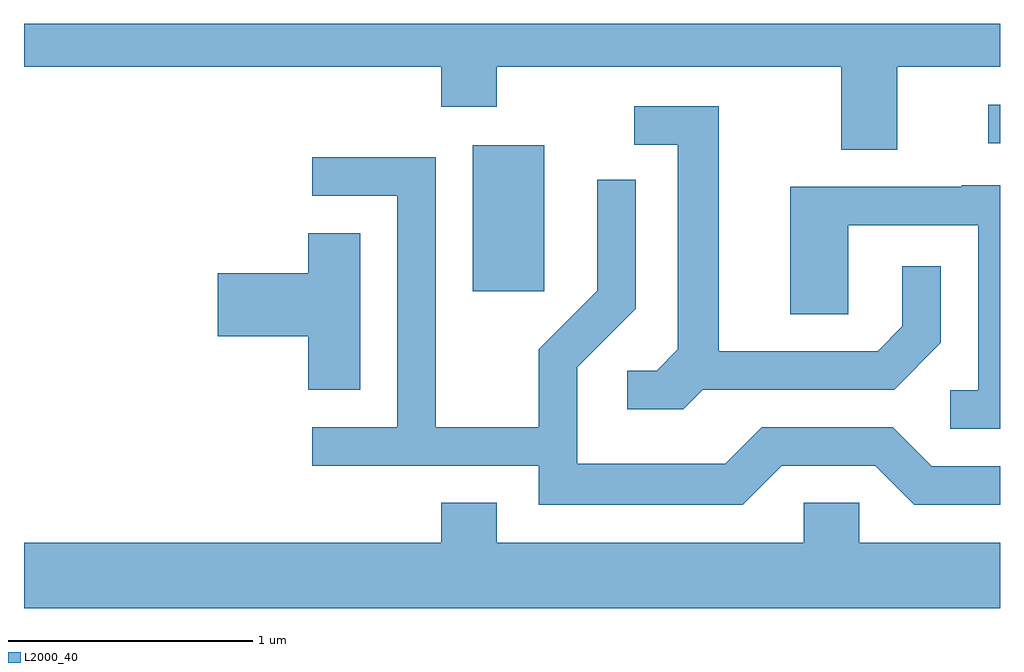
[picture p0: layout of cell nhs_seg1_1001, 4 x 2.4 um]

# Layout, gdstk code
import gdstk
lib = gdstk.Library(unit=1e-6, precision=1e-09)
def R(c, l, rs):  # rectangles x0, y0, x1, y1
    for r in rs: c.add(gdstk.rectangle(r[:2], r[2:], *l))
def P(c, l, *ps):  # polygons
    for p in ps: c.add(gdstk.Polygon(p, *l))
L2000_40 = (2000, 40)

nhs_seg1_1001 = lib.new_cell('nhs_seg1_1001')
R(nhs_seg1_1001, L2000_40, [(217.451,938.616,217.744,939.214), (219.563,939.221,219.611,939.379)])
P(nhs_seg1_1001, L2000_40, [(219.189,939.536),(219.611,939.536),(219.611,939.712),(215.611,939.712),(215.611,939.536),(217.321,939.536),(217.321,939.371),(217.549,939.371),(217.549,939.536),(218.961,939.536),(218.961,939.196),(219.189,939.196)],
  [(218.392,938.211),(219.177,938.211),(219.369,938.404),(219.369,938.718),(219.211,938.718),(219.211,938.472),(219.109,938.369),(218.459,938.369),(218.459,939.374),(218.113,939.374),(218.113,939.216),(218.291,939.216),(218.291,938.377),(218.204,938.289),(218.083,938.289),(218.083,938.131),(218.312,938.131)],
  [(218.717,937.901),(219.099,937.901),(219.259,937.741),(219.611,937.741),(219.611,937.899),(219.332,937.899),(219.172,938.059),(218.634,938.059),(218.484,937.909),(217.879,937.909),(217.879,938.304),(218.119,938.544),(218.119,939.073),(217.961,939.073),(217.961,938.617),(217.721,938.377),(217.721,938.059),(217.299,938.059),(217.299,939.164),(216.793,939.164),(216.793,939.006),(217.141,939.006),(217.141,938.059),(216.793,938.059),(216.793,937.901),(217.721,937.901),(217.721,937.741),(218.557,937.741)],
  [(219.611,939.049),(219.455,939.049),(219.455,939.044),(218.751,939.044),(218.751,938.521),(218.989,938.521),(218.989,938.886),(219.521,938.886),(219.521,938.209),(219.408,938.209),(219.408,938.051),(219.611,938.051)],
  [(216.989,938.854),(216.776,938.854),(216.776,938.689),(216.406,938.689),(216.406,938.431),(216.776,938.431),(216.776,938.211),(216.989,938.211)],
  [(219.611,937.584),(219.034,937.584),(219.034,937.749),(218.806,937.749),(218.806,937.584),(217.549,937.584),(217.549,937.749),(217.321,937.749),(217.321,937.584),(215.611,937.584),(215.611,937.316),(219.611,937.316)])

lib.write_gds('nhs_seg1_1001.gds')
